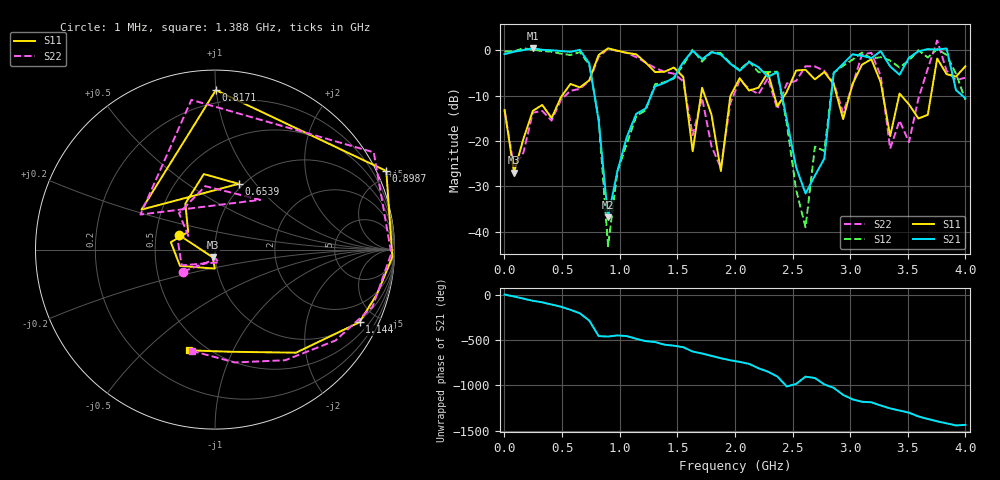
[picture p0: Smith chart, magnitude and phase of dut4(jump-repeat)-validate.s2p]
!Created with skrf (http://scikit-rf.org).
# GHz S DB R 50.0
!freq dBS11 angS11 dBS21 angS21 dBS12 angS12 dBS22 angS22
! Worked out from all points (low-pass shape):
!   50 points, 1 MHz to 4 GHz, reference 50 ohm
!   highest |S21| = 0.45 dB at 245.8 MHz (marker M1); lowest = -36.8 dB at 898.7 MHz (marker M2)
!   |S21| within 3 dB of the highest: start of sweep to 726.3 MHz; 3.491 GHz to 3.863 GHz (372.4 MHz wide, 10.1 % of centre)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
!   lowest |S11| = -27.0 dB at 82.61 MHz (marker M3), VSWR 1.09, Z = 48.6 - j4.18 ohm
!   |S11| at or under -10 dB: start of sweep to 499.8 MHz; 1.739 GHz to 1.962 GHz (223.4 MHz wide, 12.1 % of centre); 3.444 GHz to 3.701 GHz (257.3 MHz wide, 7.2 % of centre)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
!   |S22| runs from -26.0 to 2.2 dB; largest |S21 - S12| = 0.31
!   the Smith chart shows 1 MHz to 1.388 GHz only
!   S11 on the Smith chart (normalised r, x): 1 MHz: 0.65, +0.11; 653.9 MHz: 0.96, +0.83; 817.1 MHz: 0.12, +1.00; 898.7 MHz: -0.53, +4.52; 1.144 GHz: 0.93, -4.01; 1.388 GHz: 0.41, -0.69
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0.001  -13.18 157.9  -0.84 0.3  -0.31 -18.6  -13.32 -145.4
0.08261224  -26.99 -106.4  -0.32 -20.8  -0.23 -21.0  -25.70 -84.7
0.2458367  -13.35 -155.1  0.45 -68.6  0.12 -65.4  -13.76 -154.7
0.4906735  -10.32 122.9  -0.17 -134.6  -0.76 -135.6  -10.89 134.6
0.653898  -8.19 70.2  0.10 154.0  -0.43 158.7  -8.52 47.7
0.7355102  -6.64 151.4  -2.89 74.5  -3.16 67.1  -6.77 154.8
0.8171224  -1.03 89.7  -15.49 -96.9  -15.00 -103.6  -1.47 99.0
0.8987347  0.43 24.7  -36.84 -102.3  -43.19 -83.5  0.32 31.5
1.143571  -0.90 -26.7  -14.01 -126.6  -14.51 -125.3  -1.50 -37.0
1.388408  -4.74 -104.4  -7.19 168.1  -7.04 176.7  -4.75 -102.6
1.633245  -22.28 -33.7  -0.11 92.7  0.14 94.5  -18.73 -82.8
1.714857  -8.27 -23.2  -1.95 71.9  -2.51 61.5  -10.52 -21.1
1.878082  -26.62 -35.1  -0.96 19.0  -0.64 20.3  -25.95 -123.6
2.041306  -6.16 -128.7  -4.51 -20.9  -4.36 -18.2  -6.62 -129.1
2.367755  -12.33 -52.8  -4.83 178.3  -4.72 176.5  -12.96 -64.1
2.612592  -4.30 -136.9  -31.57 176.9  -39.01 -2.0  -3.52 -134.8
2.694204  -6.41 -133.4  -27.62 161.1  -21.23 81.0  -3.57 -131.6
2.857429  -7.50 153.1  -5.03 53.2  -4.91 56.5  -7.20 -179.4
3.102265  -3.17 132.8  -1.23 -100.0  -0.51 -103.5  -0.96 136.2
3.347102  -18.92 -124.0  -3.56 -173.2  -2.26 179.6  -21.68 -146.4
3.755163  -1.83 122.5  0.13 44.4  0.25 50.5  2.16 94.0
4  -3.52 -165.6  -10.57 5.7  -10.94 5.4  -6.04 -159.0
